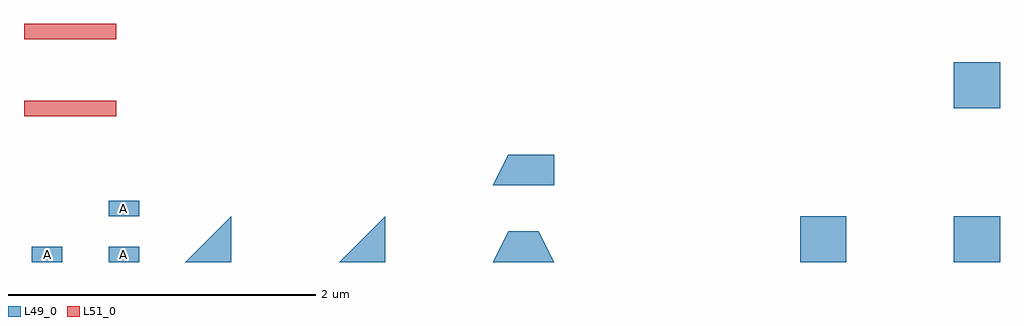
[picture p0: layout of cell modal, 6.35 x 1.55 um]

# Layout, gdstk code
import gdstk
lib = gdstk.Library(unit=1e-6, precision=1e-09)
def R(c, l, rs):  # rectangles x0, y0, x1, y1
    for r in rs: c.add(gdstk.rectangle(r[:2], r[2:], *l))
def P(c, l, *ps):  # polygons
    for p in ps: c.add(gdstk.Polygon(p, *l))
L49_0 = (49, 0)
L51_0 = (51, 0)

modal_c = lib.new_cell('modal_c')
R(modal_c, L49_0, [(0,0,0.3,0.3)])

modal = lib.new_cell('modal')
R(modal, L49_0, [(0,0,0.2,0.1), (0.5,0,0.7,0.1), (0.5,0.3,0.7,0.4)])
P(modal, L49_0, [(1,0),(1.3,0),(1.3,0.3)],
  [(2,0),(2.3,0),(2.3,0.3)],
  [(3.1,0.2),(3.3,0.2),(3.4,0),(3,0)],
  [(3.1,0.7),(3.4,0.7),(3.4,0.5),(3,0.5)])
modal.add(gdstk.FlexPath([(0,1),(0.5,1)], 0.1, ends="extended", simple_path=True, layer=51, datatype=0))  # L51_0
modal.add(gdstk.FlexPath([(0,1.5),(0.5,1.5)], 0.1, ends="extended", simple_path=True, layer=51, datatype=0))  # L51_0
modal.add(gdstk.Reference(modal_c, (5,0)))
modal.add(gdstk.Reference(modal_c, (6,0)))
modal.add(gdstk.Reference(modal_c, (6,1)))
modal.add(gdstk.Label('A', (0.1,0.05), layer=49, texttype=0))
modal.add(gdstk.Label('A', (0.6,0.05), layer=49, texttype=0))
modal.add(gdstk.Label('A', (0.6,0.35), layer=49, texttype=0))

lib.write_gds('modal.gds')
